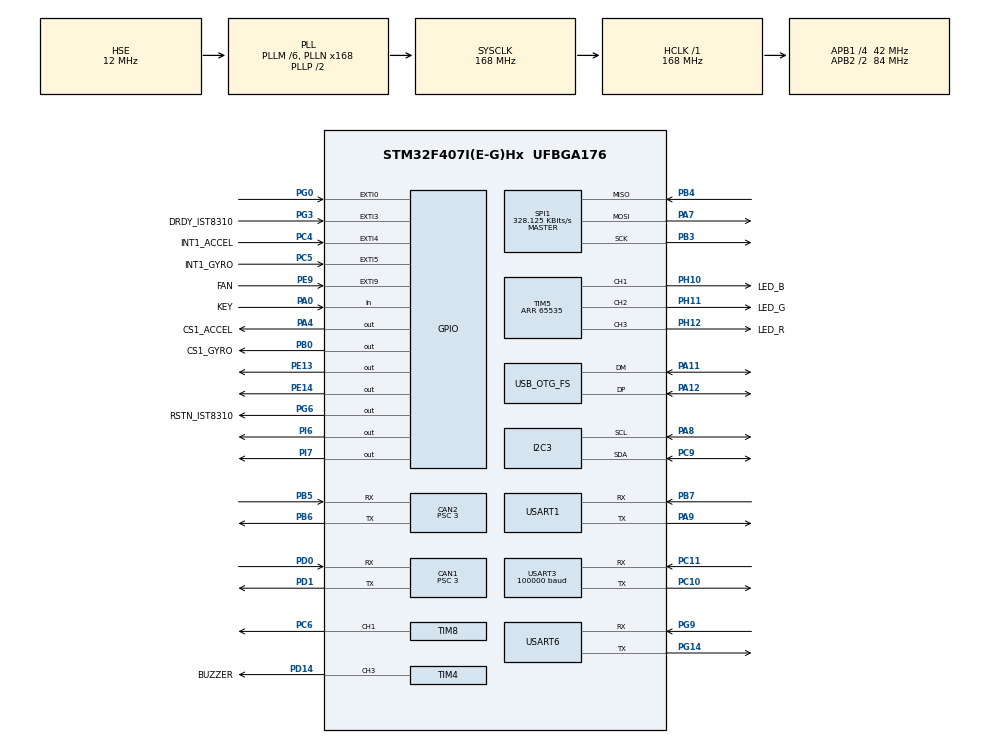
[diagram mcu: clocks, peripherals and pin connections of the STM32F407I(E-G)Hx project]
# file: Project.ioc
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CAN1.BS1=CAN_BS1_10TQ
CAN1.BS2=CAN_BS2_3TQ
CAN1.CalculateBaudRate=1000000
CAN1.CalculateTimeBit=1000
CAN1.CalculateTimeQuantum=71.42857142857143
CAN1.Prescaler=3
CAN2.BS1=CAN_BS1_10TQ
CAN2.BS2=CAN_BS2_3TQ
CAN2.CalculateBaudRate=1000000
CAN2.CalculateTimeBit=1000
CAN2.CalculateTimeQuantum=71.42857142857143
CAN2.Prescaler=3
Dma.Request0=SPI1_RX
Dma.Request1=SPI1_TX
Dma.Request2=USART1_TX
Dma.Request3=USART3_RX
Dma.Request4=USART6_RX
Dma.Request5=USART6_TX
Dma.SPI1_RX.0.Direction=DMA_PERIPH_TO_MEMORY
Dma.SPI1_RX.0.FIFOMode=DMA_FIFOMODE_DISABLE
Dma.SPI1_RX.0.Instance=DMA2_Stream2
Dma.SPI1_RX.0.MemDataAlignment=DMA_MDATAALIGN_BYTE
Dma.SPI1_RX.0.MemInc=DMA_MINC_ENABLE
Dma.SPI1_RX.0.Mode=DMA_NORMAL
Dma.SPI1_RX.0.PeriphDataAlignment=DMA_PDATAALIGN_BYTE
Dma.SPI1_RX.0.PeriphInc=DMA_PINC_DISABLE
Dma.SPI1_RX.0.Priority=DMA_PRIORITY_VERY_HIGH
Dma.SPI1_TX.1.Direction=DMA_MEMORY_TO_PERIPH
Dma.SPI1_TX.1.FIFOMode=DMA_FIFOMODE_DISABLE
Dma.SPI1_TX.1.Instance=DMA2_Stream3
Dma.SPI1_TX.1.MemDataAlignment=DMA_MDATAALIGN_BYTE
Dma.SPI1_TX.1.MemInc=DMA_MINC_ENABLE
Dma.SPI1_TX.1.Mode=DMA_NORMAL
Dma.SPI1_TX.1.PeriphDataAlignment=DMA_PDATAALIGN_BYTE
Dma.SPI1_TX.1.PeriphInc=DMA_PINC_DISABLE
Dma.SPI1_TX.1.Priority=DMA_PRIORITY_HIGH
Dma.USART1_TX.2.Direction=DMA_MEMORY_TO_PERIPH
Dma.USART1_TX.2.FIFOMode=DMA_FIFOMODE_DISABLE
Dma.USART1_TX.2.Instance=DMA2_Stream7
Dma.USART1_TX.2.MemDataAlignment=DMA_MDATAALIGN_BYTE
Dma.USART1_TX.2.MemInc=DMA_MINC_ENABLE
Dma.USART1_TX.2.Mode=DMA_NORMAL
Dma.USART1_TX.2.PeriphDataAlignment=DMA_PDATAALIGN_BYTE
Dma.USART1_TX.2.PeriphInc=DMA_PINC_DISABLE
Dma.USART1_TX.2.Priority=DMA_PRIORITY_MEDIUM
Dma.USART3_RX.3.Direction=DMA_PERIPH_TO_MEMORY
Dma.USART3_RX.3.FIFOMode=DMA_FIFOMODE_DISABLE
Dma.USART3_RX.3.Instance=DMA1_Stream1
Dma.USART3_RX.3.MemDataAlignment=DMA_MDATAALIGN_BYTE
Dma.USART3_RX.3.MemInc=DMA_MINC_ENABLE
Dma.USART3_RX.3.Mode=DMA_NORMAL
Dma.USART3_RX.3.PeriphDataAlignment=DMA_PDATAALIGN_BYTE
Dma.USART3_RX.3.PeriphInc=DMA_PINC_DISABLE
Dma.USART3_RX.3.Priority=DMA_PRIORITY_HIGH
Dma.USART6_RX.4.Direction=DMA_PERIPH_TO_MEMORY
Dma.USART6_RX.4.FIFOMode=DMA_FIFOMODE_DISABLE
Dma.USART6_RX.4.Instance=DMA2_Stream1
Dma.USART6_RX.4.MemDataAlignment=DMA_MDATAALIGN_BYTE
Dma.USART6_RX.4.MemInc=DMA_MINC_ENABLE
Dma.USART6_RX.4.Mode=DMA_NORMAL
Dma.USART6_RX.4.PeriphDataAlignment=DMA_PDATAALIGN_BYTE
Dma.USART6_RX.4.PeriphInc=DMA_PINC_DISABLE
Dma.USART6_RX.4.Priority=DMA_PRIORITY_LOW
Dma.USART6_TX.5.Direction=DMA_MEMORY_TO_PERIPH
Dma.USART6_TX.5.FIFOMode=DMA_FIFOMODE_DISABLE
Dma.USART6_TX.5.Instance=DMA2_Stream6
Dma.USART6_TX.5.MemDataAlignment=DMA_MDATAALIGN_BYTE
Dma.USART6_TX.5.MemInc=DMA_MINC_ENABLE
Dma.USART6_TX.5.Mode=DMA_NORMAL
Dma.USART6_TX.5.PeriphDataAlignment=DMA_PDATAALIGN_BYTE
Dma.USART6_TX.5.PeriphInc=DMA_PINC_DISABLE
Dma.USART6_TX.5.Priority=DMA_PRIORITY_LOW
FREERTOS.INCLUDE_eTaskGetState=1
FREERTOS.INCLUDE_pcTaskGetTaskName=1
FREERTOS.INCLUDE_uxTaskGetStackHighWaterMark=1
FREERTOS.INCLUDE_uxTaskGetStackHighWaterMark2=1
FREERTOS.INCLUDE_vTaskCleanUpResources=1
FREERTOS.INCLUDE_vTaskDelayUntil=1
FREERTOS.INCLUDE_xQueueGetMutexHolder=1
FREERTOS.INCLUDE_xSemaphoreGetMutexHolder=1
FREERTOS.INCLUDE_xTaskAbortDelay=1
FREERTOS.INCLUDE_xTaskGetCurrentTaskHandle=1
FREERTOS.INCLUDE_xTaskGetHandle=1
FREERTOS.Tasks01=imuTask,3,1024,INS_task,As weak,NULL,Dynamic,NULL,NULL;testTask,0,256,test_task,As weak,NULL,Dynamic,NULL,NULL;buzzerTask,0,128,buzzer_task,As weak,NULL,Dynamic,NULL,NULL;ledTask,0,128,led_task,As weak,NULL,Dynamic,NULL,NULL;usbTask,0,128,usb_task,As weak,NULL,Dynamic,NULL,NULL;detectTask,0,256,detect_task,As weak,NULL,Dynamic,NULL,NULL;keyTask,0,128,key_task,As weak,NULL,Dynamic,NULL,NULL;transformTask,0,256,transform_task,As weak,NULL,Dynamic,NULL,NULL;carTask,0,256,car_task,As weak,NULL,Dynamic,NULL,NULL;servoRxTask,0,128,servo_receive_task,As weak,NULL,Dynamic,NULL,NULL;adsorptionTask,0,256,adsorption_task,As weak,NULL,Dynamic,NULL,NULL
I2C3.I2C_Mode=I2C_Fast
Mcu.Family=STM32F4
Mcu.Name=STM32F407I(E-G)Hx
Mcu.Package=UFBGA176
NVIC.CAN1_RX0_IRQn=true\:6\:0\:true\:false\:true\:true\:true\:true\:true
NVIC.CAN2_RX0_IRQn=true\:6\:0\:true\:false\:true\:true\:true\:true\:true
NVIC.DMA1_Stream1_IRQn=true\:5\:0\:false\:false\:false\:true\:false\:true\:true
NVIC.DMA2_Stream1_IRQn=true\:5\:0\:false\:false\:true\:true\:false\:true\:true
NVIC.DMA2_Stream2_IRQn=true\:5\:0\:false\:false\:false\:true\:false\:true\:true
NVIC.DMA2_Stream3_IRQn=true\:5\:0\:false\:false\:false\:true\:false\:true\:true
NVIC.DMA2_Stream6_IRQn=true\:5\:0\:false\:false\:true\:true\:false\:true\:true
NVIC.DMA2_Stream7_IRQn=true\:5\:0\:false\:false\:true\:true\:false\:true\:true
NVIC.EXTI0_IRQn=true\:6\:0\:true\:false\:true\:true\:true\:true\:true
NVIC.EXTI3_IRQn=true\:5\:0\:false\:false\:true\:true\:true\:true\:true
NVIC.EXTI4_IRQn=true\:5\:0\:false\:false\:true\:true\:true\:true\:true
NVIC.EXTI9_5_IRQn=true\:5\:0\:false\:false\:true\:true\:true\:true\:true
NVIC.OTG_FS_IRQn=true\:5\:0\:false\:false\:true\:true\:true\:true\:true
NVIC.PriorityGroup=NVIC_PRIORITYGROUP_4
NVIC.TIM6_DAC_IRQn=true\:15\:0\:false\:false\:true\:false\:false\:true\:true
NVIC.TimeBase=TIM6_DAC_IRQn
NVIC.TimeBaseIP=TIM6
NVIC.USART3_IRQn=true\:4\:0\:true\:false\:false\:false\:true\:true\:true
NVIC.USART6_IRQn=true\:5\:0\:false\:false\:false\:true\:true\:true\:true
PA0-WKUP.GPIO_Label=KEY
PA0-WKUP.GPIO_PuPd=GPIO_PULLUP
PA0-WKUP.Signal=GPIO_Input
PA11.Mode=Device_Only
PA11.Signal=USB_OTG_FS_DM
PA12.Mode=Device_Only
PA12.Signal=USB_OTG_FS_DP
PA13.Mode=Serial_Wire
PA13.Signal=SYS_JTMS-SWDIO
PA14.Mode=Serial_Wire
PA14.Signal=SYS_JTCK-SWCLK
PA4.GPIO_Label=CS1_ACCEL
PA4.GPIO_PuPd=GPIO_PULLUP
PA4.GPIO_Speed=GPIO_SPEED_FREQ_HIGH
PA4.PinState=GPIO_PIN_SET
PA4.Signal=GPIO_Output
PA7.GPIO_PuPd=GPIO_PULLUP
PA7.Mode=Full_Duplex_Master
PA7.Signal=SPI1_MOSI
PA8.GPIO_Pu=GPIO_PULLUP
PA8.Mode=I2C
PA8.Signal=I2C3_SCL
PA9.GPIO_ModeDefaultPP=GPIO_MODE_AF_PP
PA9.GPIO_PuPd=GPIO_PULLUP
PA9.Mode=Asynchronous
PA9.Signal=USART1_TX
PB0.GPIO_Label=CS1_GYRO
PB0.GPIO_PuPd=GPIO_PULLUP
PB0.GPIO_Speed=GPIO_SPEED_FREQ_HIGH
PB0.PinState=GPIO_PIN_SET
PB0.Signal=GPIO_Output
PB3.GPIO_PuPd=GPIO_PULLUP
PB3.Mode=Full_Duplex_Master
PB3.Signal=SPI1_SCK
PB4.GPIO_PuPd=GPIO_PULLUP
PB4.Mode=Full_Duplex_Master
PB4.Signal=SPI1_MISO
PB5.Mode=CAN_Activate
PB5.Signal=CAN2_RX
PB6.Mode=CAN_Activate
PB6.Signal=CAN2_TX
PB7.GPIO_PuPd=GPIO_PULLUP
PB7.Mode=Asynchronous
PB7.Signal=USART1_RX
PC10.Mode=Asynchronous
PC10.Signal=USART3_TX
PC11.Mode=Asynchronous
PC11.Signal=USART3_RX
PC4.GPIO_Label=INT1_ACCEL
PC4.GPIO_PuPd=GPIO_PULLUP
PC4.Signal=GPXTI4
PC5.GPIO_Label=INT1_GYRO
PC5.GPIO_PuPd=GPIO_PULLUP
PC5.Signal=GPXTI5
PC6.GPIO_PuPd=GPIO_PULLUP
PC6.GPIO_Speed=GPIO_SPEED_FREQ_HIGH
PC6.Signal=S_TIM8_CH1
PC9.GPIO_Pu=GPIO_PULLUP
PC9.Mode=I2C
PC9.Signal=I2C3_SDA
PD0.Mode=CAN_Activate
PD0.Signal=CAN1_RX
PD1.Mode=CAN_Activate
PD1.Signal=CAN1_TX
PD14.GPIO_Label=BUZZER
PD14.GPIO_PuPd=GPIO_PULLUP
PD14.GPIO_Speed=GPIO_SPEED_FREQ_VERY_HIGH
PD14.Signal=S_TIM4_CH3
PE13.GPIO_ModeDefaultOutputPP=GPIO_MODE_OUTPUT_PP
PE13.GPIO_PuPd=GPIO_PULLUP
PE13.GPIO_Speed=GPIO_SPEED_FREQ_HIGH
PE13.PinState=GPIO_PIN_SET
PE13.Signal=GPIO_Output
PE14.GPIO_ModeDefaultOutputPP=GPIO_MODE_OUTPUT_PP
PE14.GPIO_PuPd=GPIO_PULLUP
PE14.GPIO_Speed=GPIO_SPEED_FREQ_HIGH
PE14.PinState=GPIO_PIN_SET
PE14.Signal=GPIO_Output
PE9.GPIO_Label=FAN
PE9.GPIO_PuPd=GPIO_PULLUP
PE9.Signal=GPXTI9
PG0.GPIO_ModeDefaultEXTI=GPIO_MODE_IT_FALLING
PG0.GPIO_PuPd=GPIO_PULLUP
PG0.Signal=GPXTI0
PG14.GPIO_PuPd=GPIO_PULLUP
PG14.Mode=Asynchronous
PG14.Signal=USART6_TX
PG3.GPIO_Label=DRDY_IST8310
PG3.GPIO_ModeDefaultEXTI=GPIO_MODE_IT_FALLING
PG3.GPIO_PuPd=GPIO_PULLUP
PG3.Signal=GPXTI3
PG6.GPIO_Label=RSTN_IST8310
PG6.GPIO_PuPd=GPIO_PULLUP
PG6.GPIO_Speed=GPIO_SPEED_FREQ_MEDIUM
PG6.PinState=GPIO_PIN_SET
PG6.Signal=GPIO_Output
PG9.GPIO_PuPd=GPIO_PULLUP
PG9.Mode=Asynchronous
PG9.Signal=USART6_RX
PH0-OSC_IN.Mode=HSE-External-Oscillator
PH0-OSC_IN.Signal=RCC_OSC_IN
PH1-OSC_OUT.Mode=HSE-External-Oscillator
PH1-OSC_OUT.Signal=RCC_OSC_OUT
PH10.GPIO_Label=LED_B
PH10.GPIO_PuPd=GPIO_PULLUP
PH10.GPIO_Speed=GPIO_SPEED_FREQ_HIGH
PH10.Signal=S_TIM5_CH1
PH11.GPIO_Label=LED_G
PH11.GPIO_PuPd=GPIO_PULLUP
PH11.GPIO_Speed=GPIO_SPEED_FREQ_HIGH
PH11.Signal=S_TIM5_CH2
PH12.GPIO_Label=LED_R
PH12.GPIO_PuPd=GPIO_PULLUP
PH12.GPIO_Speed=GPIO_SPEED_FREQ_HIGH
PH12.Signal=S_TIM5_CH3
PI6.GPIO_PuPd=GPIO_PULLUP
PI6.GPIO_Speed=GPIO_SPEED_FREQ_VERY_HIGH
PI6.PinState=GPIO_PIN_SET
PI6.Signal=GPIO_Output
PI7.GPIO_PuPd=GPIO_PULLUP
PI7.GPIO_Speed=GPIO_SPEED_FREQ_VERY_HIGH
PI7.PinState=GPIO_PIN_SET
PI7.Signal=GPIO_Output
ProjectManager.HeapSize=0x200
ProjectManager.StackSize=0x400
ProjectManager.TargetToolchain=MDK-ARM V5
RCC.48MHZClocksFreq_Value=48000000
RCC.AHBFreq_Value=168000000
RCC.APB1CLKDivider=RCC_HCLK_DIV4
RCC.APB1Freq_Value=42000000
RCC.APB1TimFreq_Value=84000000
RCC.APB2CLKDivider=RCC_HCLK_DIV2
RCC.APB2Freq_Value=84000000
RCC.APB2TimFreq_Value=168000000
RCC.CortexFreq_Value=168000000
RCC.HCLKFreq_Value=168000000
RCC.HSE_VALUE=12000000
RCC.HSI_VALUE=16000000
RCC.LSE_VALUE=32768
RCC.PLLM=6
RCC.PLLN=168
RCC.PLLQ=7
RCC.SYSCLKFreq_VALUE=168000000
RCC.SYSCLKSource=RCC_SYSCLKSOURCE_PLLCLK
RCC.VCOOutputFreq_Value=336000000
SH.S_TIM4_CH3.0=TIM4_CH3,PWM Generation3 CH3
SH.S_TIM5_CH1.0=TIM5_CH1,PWM Generation1 CH1
SH.S_TIM5_CH2.0=TIM5_CH2,PWM Generation2 CH2
SH.S_TIM5_CH3.0=TIM5_CH3,PWM Generation3 CH3
SH.S_TIM8_CH1.0=TIM8_CH1,PWM Generation1 CH1
SPI1.BaudRatePrescaler=SPI_BAUDRATEPRESCALER_256
SPI1.CLKPhase=SPI_PHASE_2EDGE
SPI1.CLKPolarity=SPI_POLARITY_HIGH
SPI1.CalculateBaudRate=328.125 KBits/s
SPI1.Direction=SPI_DIRECTION_2LINES
SPI1.Mode=SPI_MODE_MASTER
SPI1.VirtualType=VM_MASTER
TIM1.Period=19999
TIM1.Prescaler=167
TIM4.Channel-PWM\ Generation3\ CH3=TIM_CHANNEL_3
TIM4.Period=65535
TIM4.Prescaler=167
TIM5.Channel-PWM\ Generation1\ CH1=TIM_CHANNEL_1
TIM5.Channel-PWM\ Generation2\ CH2=TIM_CHANNEL_2
TIM5.Channel-PWM\ Generation3\ CH3=TIM_CHANNEL_3
TIM5.Period=65535
TIM5.Pulse-PWM\ Generation1\ CH1=10000
TIM5.Pulse-PWM\ Generation2\ CH2=10000
TIM5.Pulse-PWM\ Generation3\ CH3=10000
TIM8.Channel-PWM\ Generation1\ CH1=TIM_CHANNEL_1
USART1.VirtualMode=VM_ASYNC
USART3.BaudRate=100000
USART3.Parity=PARITY_EVEN
USART3.VirtualMode=VM_ASYNC
USART6.VirtualMode=VM_ASYNC
USB_DEVICE.CLASS_NAME_FS=CDC
USB_DEVICE.VirtualMode-CDC_FS=Cdc
USB_DEVICE.VirtualModeFS=Cdc_FS
USB_OTG_FS.VirtualMode=Device_Only
VP_FREERTOS_VS_CMSIS_V1.Mode=CMSIS_V1
VP_SYS_VS_tim6.Mode=TIM6
VP_TIM1_VS_ClockSourceINT.Mode=Internal
VP_TIM4_VS_ClockSourceINT.Mode=Internal
VP_TIM5_VS_ClockSourceINT.Mode=Internal
VP_TIM8_VS_ClockSourceINT.Mode=Internal
VP_USB_DEVICE_VS_USB_DEVICE_CDC_FS.Mode=CDC_FS
board=custom

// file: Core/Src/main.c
/* USER CODE BEGIN Header */
/**
  ******************************************************************************
  * @file           : main.c
  * @brief          : Main program body
  ******************************************************************************
  * @attention
  *
  * Copyright (c) 2025 STMicroelectronics.
  * All rights reserved.
  *
  * This software is licensed under terms that can be found in the LICENSE file
  * in the root directory of this software component.
  * If no LICENSE file comes with this software, it is provided AS-IS.
  *
  ******************************************************************************
  */
/* USER CODE END Header */
#include "main.h"
#include "cmsis_os.h"
#include "can.h"
#include "dma.h"
#include "i2c.h"
#include "spi.h"
#include "tim.h"
#include "usart.h"
#include "usb_device.h"
#include "gpio.h"

/* USER CODE BEGIN Includes */

#include "remote_receive.h"
#include "bsp_usart.h"
#include "bsp_can.h"

/* USER CODE END Includes */

void SystemClock_Config(void);
void MX_FREERTOS_Init(void);

int main(void)
{

  /* MCU Configuration--------------------------------------------------------*/

  /* Reset of all peripherals, Initializes the Flash interface and the Systick. */
  HAL_Init();

  /* Configure the system clock */
  SystemClock_Config();

  /* Initialize all configured peripherals */
  MX_GPIO_Init();
  MX_DMA_Init();
  MX_SPI1_Init();
  MX_I2C3_Init();
  MX_USART3_UART_Init();
  MX_TIM4_Init();
  MX_CAN1_Init();
  MX_CAN2_Init();
  MX_USART1_UART_Init();
  MX_TIM5_Init();
  MX_TIM8_Init();
  MX_USART6_UART_Init();
  MX_TIM1_Init();
  /* USER CODE BEGIN 2 */
    HAL_TIM_Base_Start(&htim4);
    HAL_TIM_PWM_Start(&htim4, TIM_CHANNEL_3);
	HAL_TIM_Base_Start(&htim5);
    HAL_TIM_PWM_Start(&htim5, TIM_CHANNEL_1);
	HAL_TIM_PWM_Start(&htim5, TIM_CHANNEL_2);
	HAL_TIM_PWM_Start(&htim5, TIM_CHANNEL_3);
  HAL_TIM_Base_Start(&htim1);
  HAL_TIM_PWM_Start(&htim1, TIM_CHANNEL_1);//pwm1
  HAL_TIM_PWM_Start(&htim1, TIM_CHANNEL_2);//pwm2
  HAL_TIM_PWM_Start(&htim1, TIM_CHANNEL_3);//pwm3
	HAL_TIM_PWM_Start(&htim1, TIM_CHANNEL_4);//pwm4
  HAL_TIM_Base_Start(&htim8);
  HAL_TIM_PWM_Start(&htim8, TIM_CHANNEL_1); //pwm5
  HAL_TIM_PWM_Start(&htim8, TIM_CHANNEL_2);//pwm6
  HAL_TIM_PWM_Start(&htim8, TIM_CHANNEL_3);//pwm7
    remote_receive_init();
    usart1_tx_dma_init();
	can_filter_init();
  /* USER CODE END 2 */

  /* Call init function for freertos objects (in cmsis_os2.c) */
  MX_FREERTOS_Init();

  /* Start scheduler */
  osKernelStart();

  /* We should never get here as control is now taken by the scheduler */

  /* Infinite loop */
  while (1)
  {

    /* USER CODE BEGIN 3 */

		//From right to left are pwm1 to pwm7 ,limit 0~20000
	__HAL_TIM_SetCompare(&htim1, TIM_CHANNEL_1, 10000);//pwm1
	__HAL_TIM_SetCompare(&htim1, TIM_CHANNEL_2, 10000);//pwm2
	__HAL_TIM_SetCompare(&htim1, TIM_CHANNEL_3, 10000);//pwm3
	__HAL_TIM_SetCompare(&htim1, TIM_CHANNEL_4, 10000);//pwm4
	__HAL_TIM_SetCompare(&htim8, TIM_CHANNEL_1, 10000);//pwm5
	__HAL_TIM_SetCompare(&htim8, TIM_CHANNEL_2, 10000);//pwm6
	__HAL_TIM_SetCompare(&htim8, TIM_CHANNEL_3, 10000);//pwm7
  }
  /* USER CODE END 3 */
}

void SystemClock_Config(void)
{
  RCC_OscInitTypeDef RCC_OscInitStruct = {0};
  RCC_ClkInitTypeDef RCC_ClkInitStruct = {0};

  /** Configure the main internal regulator output voltage
  */
  __HAL_RCC_PWR_CLK_ENABLE();
  __HAL_PWR_VOLTAGESCALING_CONFIG(PWR_REGULATOR_VOLTAGE_SCALE1);

  /** Initializes the RCC Oscillators according to the specified parameters
  * in the RCC_OscInitTypeDef structure.
  */
  RCC_OscInitStruct.OscillatorType = RCC_OSCILLATORTYPE_HSE;
  RCC_OscInitStruct.HSEState = RCC_HSE_ON;
  RCC_OscInitStruct.PLL.PLLState = RCC_PLL_ON;
  RCC_OscInitStruct.PLL.PLLSource = RCC_PLLSOURCE_HSE;
  RCC_OscInitStruct.PLL.PLLM = 6;
  RCC_OscInitStruct.PLL.PLLN = 168;
  RCC_OscInitStruct.PLL.PLLP = RCC_PLLP_DIV2;
  RCC_OscInitStruct.PLL.PLLQ = 7;
  if (HAL_RCC_OscConfig(&RCC_OscInitStruct) != HAL_OK)
  {
    Error_Handler();
  }

  /** Initializes the CPU, AHB and APB buses clocks
  */
  RCC_ClkInitStruct.ClockType = RCC_CLOCKTYPE_HCLK|RCC_CLOCKTYPE_SYSCLK
                              |RCC_CLOCKTYPE_PCLK1|RCC_CLOCKTYPE_PCLK2;
  RCC_ClkInitStruct.SYSCLKSource = RCC_SYSCLKSOURCE_PLLCLK;
  RCC_ClkInitStruct.AHBCLKDivider = RCC_SYSCLK_DIV1;
  RCC_ClkInitStruct.APB1CLKDivider = RCC_HCLK_DIV4;
  RCC_ClkInitStruct.APB2CLKDivider = RCC_HCLK_DIV2;

  if (HAL_RCC_ClockConfig(&RCC_ClkInitStruct, FLASH_LATENCY_5) != HAL_OK)
  {
    Error_Handler();
  }
}

void HAL_TIM_PeriodElapsedCallback(TIM_HandleTypeDef *htim)
{
  if (htim->Instance == TIM6)
  {
    HAL_IncTick();
  }
}

void Error_Handler(void)
{
  __disable_irq();
  while (1)
  {
  }
}

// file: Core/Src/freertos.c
/* USER CODE BEGIN Header */
/**
  ******************************************************************************
  * File Name          : freertos.c
  * Description        : Code for freertos applications
  ******************************************************************************
  * @attention
  *
  * Copyright (c) 2025 STMicroelectronics.
  * All rights reserved.
  *
  * This software is licensed under terms that can be found in the LICENSE file
  * in the root directory of this software component.
  * If no LICENSE file comes with this software, it is provided AS-IS.
  *
  ******************************************************************************
  */
/* USER CODE END Header */

#include "FreeRTOS.h"
#include "task.h"
#include "main.h"
#include "cmsis_os.h"

osThreadId imuTaskHandle;
osThreadId testTaskHandle;
osThreadId buzzerTaskHandle;
osThreadId ledTaskHandle;
osThreadId usbTaskHandle;
osThreadId detectTaskHandle;
osThreadId keyTaskHandle;
osThreadId transformTaskHandle;
osThreadId carTaskHandle;
osThreadId servoRxTaskHandle;
osThreadId adsorptionTaskHandle;

void INS_task(void const * argument);
void test_task(void const * argument);
void buzzer_task(void const * argument);
void led_task(void const * argument);
void usb_task(void const * argument);
void detect_task(void const * argument);
void key_task(void const * argument);
void transform_task(void const * argument);
void car_task(void const * argument);
void servo_receive_task(void const * argument);
void adsorption_task(void const * argument);

extern void MX_USB_DEVICE_Init(void);
void MX_FREERTOS_Init(void); /* (MISRA C 2004 rule 8.1) */

/* GetIdleTaskMemory prototype (linked to static allocation support) */
void vApplicationGetIdleTaskMemory( StaticTask_t **ppxIdleTaskTCBBuffer, StackType_t **ppxIdleTaskStackBuffer, uint32_t *pulIdleTaskStackSize );

/* USER CODE BEGIN GET_IDLE_TASK_MEMORY */
static StaticTask_t xIdleTaskTCBBuffer;
static StackType_t xIdleStack[configMINIMAL_STACK_SIZE];

void vApplicationGetIdleTaskMemory( StaticTask_t **ppxIdleTaskTCBBuffer, StackType_t **ppxIdleTaskStackBuffer, uint32_t *pulIdleTaskStackSize )
{
  *ppxIdleTaskTCBBuffer = &xIdleTaskTCBBuffer;
  *ppxIdleTaskStackBuffer = &xIdleStack[0];
  *pulIdleTaskStackSize = configMINIMAL_STACK_SIZE;
  /* place for user code */
}
/* USER CODE END GET_IDLE_TASK_MEMORY */

void MX_FREERTOS_Init(void) {

  /* Create the thread(s) */
  /* definition and creation of imuTask */
  osThreadDef(imuTask, INS_task, osPriorityRealtime, 0, 1024);
  imuTaskHandle = osThreadCreate(osThread(imuTask), NULL);

  /* definition and creation of testTask */
  osThreadDef(testTask, test_task, osPriorityNormal, 0, 256);
  testTaskHandle = osThreadCreate(osThread(testTask), NULL);

  /* definition and creation of buzzerTask */
  osThreadDef(buzzerTask, buzzer_task, osPriorityNormal, 0, 128);
  buzzerTaskHandle = osThreadCreate(osThread(buzzerTask), NULL);

  /* definition and creation of ledTask */
  osThreadDef(ledTask, led_task, osPriorityNormal, 0, 128);
  ledTaskHandle = osThreadCreate(osThread(ledTask), NULL);

  /* definition and creation of usbTask */
  osThreadDef(usbTask, usb_task, osPriorityNormal, 0, 128);
  usbTaskHandle = osThreadCreate(osThread(usbTask), NULL);

  /* definition and creation of detectTask */
  osThreadDef(detectTask, detect_task, osPriorityNormal, 0, 256);
  detectTaskHandle = osThreadCreate(osThread(detectTask), NULL);

  /* definition and creation of keyTask */
  osThreadDef(keyTask, key_task, osPriorityNormal, 0, 128);
  keyTaskHandle = osThreadCreate(osThread(keyTask), NULL);

  /* definition and creation of transformTask */
  osThreadDef(transformTask, transform_task, osPriorityNormal, 0, 256);
  transformTaskHandle = osThreadCreate(osThread(transformTask), NULL);

  /* definition and creation of carTask */
  osThreadDef(carTask, car_task, osPriorityNormal, 0, 256);
  carTaskHandle = osThreadCreate(osThread(carTask), NULL);

  /* definition and creation of servoRxTask */
  osThreadDef(servoRxTask, servo_receive_task, osPriorityNormal, 0, 128);
  servoRxTaskHandle = osThreadCreate(osThread(servoRxTask), NULL);

  /* definition and creation of adsorptionTask */
  osThreadDef(adsorptionTask, adsorption_task, osPriorityNormal, 0, 256);
  adsorptionTaskHandle = osThreadCreate(osThread(adsorptionTask), NULL);

}

__weak void INS_task(void const * argument)
{
  /* init code for USB_DEVICE */
  MX_USB_DEVICE_Init();
  for(;;)
  {
    osDelay(1);
  }
}

__weak void test_task(void const * argument)
{
  for(;;)
  {
    osDelay(1);
  }
}

__weak void buzzer_task(void const * argument)
{
  for(;;)
  {
    osDelay(1);
  }
}

__weak void led_task(void const * argument)
{
  for(;;)
  {
    osDelay(1);
  }
}

__weak void usb_task(void const * argument)
{
  for(;;)
  {
    osDelay(1);
  }
}

__weak void detect_task(void const * argument)
{
  for(;;)
  {
    osDelay(1);
  }
}

__weak void key_task(void const * argument)
{
  for(;;)
  {
    osDelay(1);
  }
}

__weak void transform_task(void const * argument)
{
  for(;;)
  {
    osDelay(1);
  }
}

__weak void car_task(void const * argument)
{
  for(;;)
  {
    osDelay(1);
  }
}

__weak void servo_receive_task(void const * argument)
{
  for(;;)
  {
    osDelay(1);
  }
}

__weak void adsorption_task(void const * argument)
{
  for(;;)
  {
    osDelay(1);
  }
}
